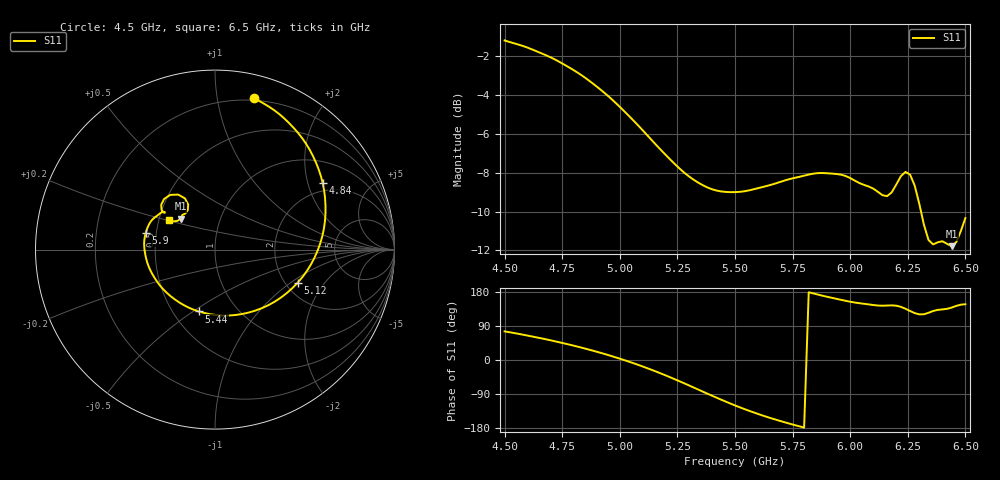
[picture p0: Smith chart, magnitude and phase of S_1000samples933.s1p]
! TOUCHSTONE file generated by CST MICROWAVE STUDIO
! Date and time: Sat Oct 29 20:33:33 2022
! Project name: L.cst
! Parameters = {Di=1.27; Epsilon_r=1.56; InnerDiameter=1.27; Length=2; Lf=10; Lg=60; OuterConductorThickness=0.2921; OuterDiameter=3.6; Wf=3; Wp=41.2; de=1.5; df=6.8; g=0.8; gx=4.18185; gy=2.15445; h=2.34; hf=1.524; px=14.5939; py=9.70783; w=9.7; wx=10.4121; wy=7.55339}
! Header version: 2018
! Port assignment regex: !\s*Touchstone port\s*([0-9]+)\s*=\s*(CST MWS port|CST DS port)\s*([0-9]+|Zmin|Zmax)\s*\(\"(.*)\"\)(\s*mode\s*([0-9]+))?.*
! Touchstone port assignment:
! Touchstone port 1 = CST MWS port 1 ("")
# GHz S DB R 50
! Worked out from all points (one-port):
!   101 points, 4.5 GHz to 6.5 GHz, reference 50 ohm
!   lowest |S11| = -11.8 dB at 6.44 GHz (marker M1), VSWR 1.69, Z = 32.2 + j11.8 ohm
!   |S11| at or under -10 dB: 6.307 GHz to end of sweep
!   S11 on the Smith chart (normalised r, x): 4.5 GHz: 0.18, +1.28; 4.84 GHz: 1.70, +2.50; 5.12 GHz: 2.32, -1.14; 5.44 GHz: 0.67, -0.53; 5.9 GHz: 0.44, +0.09; 6.5 GHz: 0.57, +0.21
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4.5  -1.20 75.5
4.62  -1.66 62.0
4.7  -2.07 51.9
4.76  -2.45 43.6
4.84  -3.04 31.6
4.92  -3.76 18.3
5  -4.61 3.5
5.06  -5.33 -8.6
5.12  -6.08 -21.8
5.2  -7.09 -40.9
5.26  -7.79 -56.4
5.34  -8.51 -77.9
5.44  -8.96 -104.7
5.5  -9.00 -119.9
5.62  -8.73 -146.5
5.76  -8.26 -171.9
5.9  -8.03 166.8
6  -8.27 153.8
6.14  -9.15 143.3
6.18  -9.01 144.2
6.22  -8.18 140.3
6.26  -8.10 129.3
6.28  -8.66 123.8
6.3  -9.60 120.4
6.34  -11.46 124.6
6.44  -11.78 138.2
6.46  -11.58 142.7
6.5  -10.33 147.2
